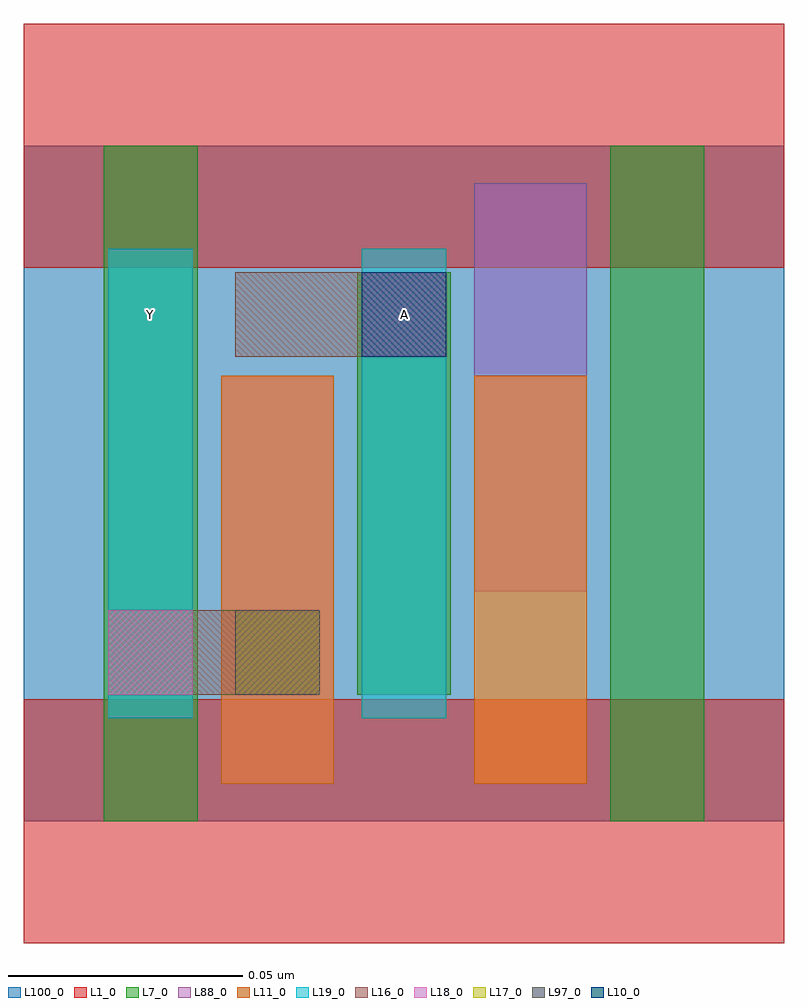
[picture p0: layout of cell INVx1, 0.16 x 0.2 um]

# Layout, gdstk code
import gdstk
lib = gdstk.Library(unit=1e-6, precision=2.5e-10)
def R(c, l, rs):  # rectangles x0, y0, x1, y1
    for r in rs: c.add(gdstk.rectangle(r[:2], r[2:], *l))
L1_0 = (1, 0)
L7_0 = (7, 0)
L10_0 = (10, 0)
L11_0 = (11, 0)
L16_0 = (16, 0)
L17_0 = (17, 0)
L18_0 = (18, 0)
L19_0 = (19, 0)
L88_0 = (88, 0)
L97_0 = (97, 0)
L100_0 = (100, 0)

invx1 = lib.new_cell('INVx1')
R(invx1, L1_0, [(0,-0.026,0.162,0.026), (0,0.118,0.162,0.17)])
R(invx1, L7_0, [(0.017,0,0.037,0.144), (0.125,0,0.145,0.144), (0.071,0.027,0.091,0.117)])
R(invx1, L10_0, [(0.072,0.099,0.09,0.117)])
R(invx1, L11_0, [(0.042,0.008,0.066,0.095), (0.096,0.008,0.12,0.095)])
R(invx1, L16_0, [(0.018,0.027,0.063,0.045), (0.045,0.099,0.09,0.117)])
R(invx1, L17_0, [(0.045,0.027,0.063,0.045)])
R(invx1, L18_0, [(0.018,0.027,0.036,0.045), (0.072,0.099,0.09,0.117)])
R(invx1, L19_0, [(0.018,0.022,0.036,0.122), (0.072,0.022,0.09,0.122)])
R(invx1, L88_0, [(0.042,0.008,0.066,0.095), (0.096,0.049,0.12,0.136)])
R(invx1, L97_0, [(0.045,0.027,0.063,0.045)])
R(invx1, L100_0, [(0,0,0.162,0.144)])
invx1.add(gdstk.Label('A', (0.081,0.108), layer=19, texttype=251))
invx1.add(gdstk.Label('Y', (0.027,0.108), layer=19, texttype=251))

lib.write_gds('INVx1.gds')
